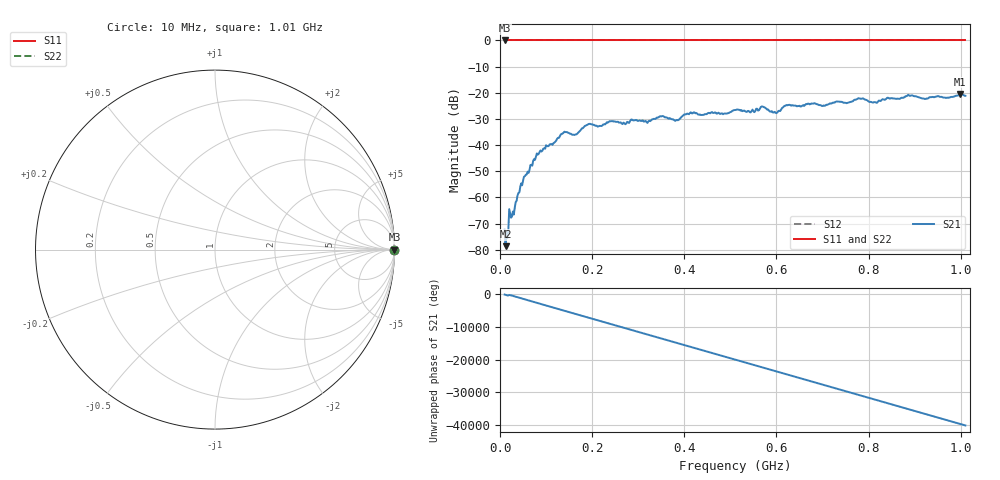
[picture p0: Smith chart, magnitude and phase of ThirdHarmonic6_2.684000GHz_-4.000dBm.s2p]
! 8/17/2025 6:19:27 AM
! C:\ANRITSUVNA\TEMP\TEMP.S2P
! CHANNEL.1
! TR.MEASUREMENT
! RAW.DATA
! RF.CORRECTION.OFF
! AVERAGING.OFF
! IF.BANDWIDTH: 5KHZ
! SWEEPTYPE:  FREQ.SWEEP(Linear)
! Reference Plane Port Info
! PORT:  PORT1  PORT2
! DISTANCE:  0  m  0  m
! TIME:  0  s  0  s
! PHASE.OFFSET:  0  deg.  0  deg.
! LOSS:  0  dB  0  dB
! REF.LOSS:  0  dB  0  dB
! REF.FREQ:  0  Hz  0  Hz
! Power Info
! POWER:  -20  dBm  -20  dBm
! EFF.POWER:  -20  dBm  -20  dBm
! SOURCE.ATTEN:  0  dB  0  dB
! TEST.ATTEN:  0  dB  0  dB
# GHZ S RI R 50.0
! FREQ.GHZ  S11RE  S11IM  S21RE  S21IM  S12RE  S12IM  S22RE  S22IM
!; PortSelection: Port_12
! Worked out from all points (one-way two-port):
!   501 points, 10 MHz to 1.01 GHz, reference 50 ohm
!   highest |S21| = -20.47 dB at 998 MHz (marker M1); lowest = -78.6 dB at 12 MHz (marker M2)
!   lowest |S11| = 0.0 dB at 10 MHz (marker M3)
!   |S11| at or under -10 dB: nowhere
!   |S22| runs from 0.0 to 0.0 dB; largest |S21 - S12| = 1.1
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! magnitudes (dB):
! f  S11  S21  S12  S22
! 10 MHz  0.0  -72.4  0.0  0.0
! 12 MHz  0.0  -78.6  0.0  0.0
! 14 MHz  0.0  -73.3  0.0  0.0
! 24 MHz  0.0  -67.8  0.0  0.0
! 28 MHz  0.0  -65.4  0.0  0.0
! 48 MHz  0.0  -55.4  0.0  0.0
! 82 MHz  0.0  -43.6  0.0  0.0
! 136 MHz  0.0  -35.6  0.0  0.0
! 162 MHz  0.0  -36.1  0.0  0.0
! 178 MHz  0.0  -33.6  0.0  0.0
! 194 MHz  0.0  -31.9  0.0  0.0
! 344 MHz  0.0  -29.4  0.0  0.0
! 384 MHz  0.0  -30.4  0.0  0.0
! 416 MHz  0.0  -27.8  0.0  0.0
! 510 MHz  0.0  -26.6  0.0  0.0
! 570 MHz  0.0  -25.3  0.0  0.0
! 598 MHz  0.0  -27.6  0.0  0.0
! 622 MHz  0.0  -24.7  0.0  0.0
! 678 MHz  0.0  -24.2  0.0  0.0
! 844 MHz  0.0  -22.1  0.0  0.0
! 998 MHz  0.0  -20.5  0.0  0.0
! 1.01 GHz  0.0  -21.2  0.0  0.0
